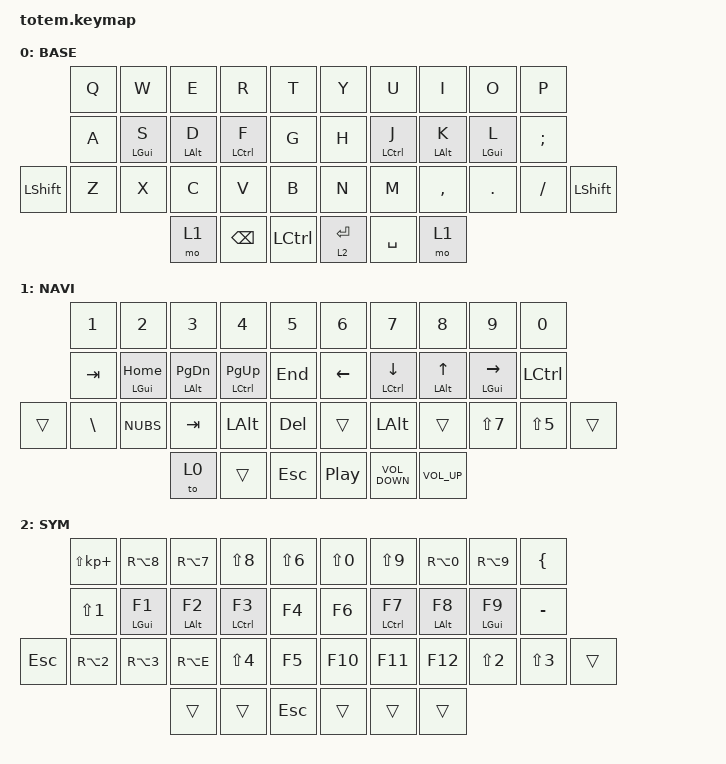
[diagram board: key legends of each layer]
//
//                                                        ▀▀▀▀▀     ▀▀▀▀▀          ▀▀█▀▀
//                                                        ▄▀▀▀▄  ▄  ▄▀▀▀▄  ▄  ▄▀▀▀▄  █  ▄▀▀▀▄
//                                                        █   █  █  █   █  █  █   █  █  █   █
//                                                         ▀▀▀   █   ▀▀▀   █   ▀▀▀   ▀   ▀▀▀
//                                                               █      ▄▄▄█▄▄▄    █   █  
//                                                               ▀      █  █  █     █▄█
//                                                             ▀▀▀▀▀    █  █  █      ▀
//                                                                      ▀  ▀  ▀
//
// ▄▄▄▄▄▄▄▄▄▄▄▄▄▄▄▄▄▄▄▄▄▄▄▄▄▄▄▄▄▄▄▄▄▄▄▄▄▄▄▄▄▄▄▄▄▄▄▄▄▄▄▄▄▄▄▄▄▄▄▄▄▄▄▄▄▄▄▄▄▄▄▄▄▄▄▄▄▄▄▄▄▄▄▄▄▄▄▄▄▄▄▄▄▄▄▄▄▄▄▄▄▄▄▄▄▄▄▄▄▄▄▄▄▄▄▄▄▄▄▄▄▄▄▄▄▄▄▄▄▄▄▄▄▄▄▄▄▄▄▄▄▄▄▄▄▄▄▄▄

#include <behaviors.dtsi>
#include <dt-bindings/zmk/keys.h>

#define BASE 0
#define NAV  1
#define SYM  2
#define ADJ  3
#define TVP1 4
#define TVP2 5

&mt {
    quick-tap-ms = <230>;
    global-quick-tap;
    flavor = "tap-preferred";
    tapping-term-ms = <230>;
    require-prior-idle-ms = <125>;
};

/ {
    combos {
        compatible = "zmk,combos";

        acento {
            bindings = <&kp RIGHT_BRACKET>;
            key-positions = <16 17>;
        };

        Agudo {
            bindings = <&kp LS(RIGHT_BRACKET)>;
            key-positions = <20 16 17>;
        };

        tilde {
            bindings = <&kp NUHS>;
            key-positions = <27 28>;
        };

        chapeu {
            bindings = <&kp LS(NUHS)>;
            key-positions = <20 27 28>;
        };
    };

    keymap {
        compatible = "zmk,keymap";

        // ▄▄▄▄▄▄▄▄▄▄▄▄▄▄▄▄▄▄▄▄▄▄▄▄▄▄▄▄▄▄▄▄▄▄▄▄▄▄▄▄▄▄▄▄▄▄▄▄▄▄▄▄▄▄▄▄▄▄▄▄▄▄▄▄▄▄▄▄▄▄▄▄▄▄▄▄▄▄▄▄▄▄▄▄▄▄▄▄▄▄▄▄▄▄▄▄▄▄▄▄▄▄▄▄▄▄▄▄▄▄▄▄▄▄▄▄▄▄▄▄▄▄▄▄▄▄▄▄▄▄▄▄▄▄▄▄▄▄▄▄▄▄▄▄▄▄▄▄▄

        base_layer {
            // ┏━━━━━━━━━━━━━━━━━━━━━━━━━━━━━━━━━━━━━━━┓

            label = "BASE";

            // ┗━━━━━━━━━━━━━━━━━━━━━━━━━━━━━━━━━━━━━━━┛
            //             ┏━━━━━━━━━━━┳━━━━━━━━━━━┳━━━━━━━━━━━┳━━━━━━━━━━━┳━━━━━━━━━━━┓   ┏━━━━━━━━━━━┳━━━━━━━━━━━┳━━━━━━━━━━━┳━━━━━━━━━━━┳━━━━━━━━━━━┓
            //             ┃     Q     ┃     W     ┃     E     ┃     R     ┃     T     ┃   ┃     Y     ┃     U     ┃     I     ┃     O     ┃     P     ┃
            //             ┣━━━━━━━━━━━╋━━━━━━━━━━━╋━━━━━━━━━━━╋━━━━━━━━━━━╋━━━━━━━━━━━┫   ┣━━━━━━━━━━━╋━━━━━━━━━━━╋━━━━━━━━━━━╋━━━━━━━━━━━╋━━━━━━━━━━━┫
            //             ┃     A     ┃     S     ┃     D     ┃     F     ┃     G     ┃   ┃     H     ┃     J     ┃     K     ┃     L     ┃     Ç     ┃
            // ┏━━━━━━━━━━━╋━━━━━━━━━━━╋━━━━━━━━━━━╋━━━━━━━━━━━╋━━━━━━━━━━━╋━━━━━━━━━━━┫   ┣━━━━━━━━━━━╋━━━━━━━━━━━╋━━━━━━━━━━━╋━━━━━━━━━━━╋━━━━━━━━━━━╋━━━━━━━━━━━┓
            // ┃     ESC   ┃     Z     ┃     X     ┃     C     ┃     V     ┃     B     ┃   ┃     N     ┃     M     ┃     ,     ┃     .     ┃     -     ┃    LSFT   ┃
            // ┗━━━━━━━━━━━┻━━━━━━━━━━━┻━━━━━━━━━━━╋━━━━━━━━━━━╋━━━━━━━━━━━╋━━━━━━━━━━━┫   ┣━━━━━━━━━━━╋━━━━━━━━━━━╋━━━━━━━━━━━╋━━━━━━━━━━━┻━━━━━━━━━━━┻━━━━━━━━━━━┛
            //                                     ┃    BSPC   ┃    ALT    ┃    CTRL   ┃   ┃           ┃   ENTER   ┃   SPACE   ┃
            //                                     ┗━━━━━━━━━━━┻━━━━━━━━━━━┻━━━━━━━━━━━┛   ┗━━━━━━━━━━━┻━━━━━━━━━━━┻━━━━━━━━━━━┛

            bindings = <
            &kp Q  &kp W           &kp E           &kp R               &kp T        &kp Y        &kp U        &kp I           &kp O           &kp P
            &kp A  &mt LEFT_GUI S  &mt LEFT_ALT D  &mt LEFT_CONTROL F  &kp G        &kp H        &mt LCTRL J  &mt LEFT_ALT K  &mt LEFT_GUI L  &kp SEMI
&kp LSHIFT  &kp Z  &kp X           &kp C           &kp V               &kp B        &kp N        &kp M        &kp COMMA       &kp DOT         &kp SLASH  &kp LSHFT
                                   &mo 1           &kp BACKSPACE       &kp LCTRL    &lt 2 ENTER  &kp SPACE    &mo 1
            >;
        };

        // ▄▄▄▄▄▄▄▄▄▄▄▄▄▄▄▄▄▄▄▄▄▄▄▄▄▄▄▄▄▄▄▄▄▄▄▄▄▄▄▄▄▄▄▄▄▄▄▄▄▄▄▄▄▄▄▄▄▄▄▄▄▄▄▄▄▄▄▄▄▄▄▄▄▄▄▄▄▄▄▄▄▄▄▄▄▄▄▄▄▄▄▄▄▄▄▄▄▄▄▄▄▄▄▄▄▄▄▄▄▄▄▄▄▄▄▄▄▄▄▄▄▄▄▄▄▄▄▄▄▄▄▄▄▄▄▄▄▄▄▄▄▄▄▄▄▄▄▄▄

        num_nav {
            // ┏━━━━━━━━━━━━━━━━━━━━━━━━━━━━━━━━━━━━━━━┓

            label = "NAVI";

            // ┗━━━━━━━━━━━━━━━━━━━━━━━━━━━━━━━━━━━━━━━┛
            //             ┏━━━━━━━━━━━┳━━━━━━━━━━━┳━━━━━━━━━━━┳━━━━━━━━━━━┳━━━━━━━━━━━┓   ┏━━━━━━━━━━━┳━━━━━━━━━━━┳━━━━━━━━━━━┳━━━━━━━━━━━┳━━━━━━━━━━━┓
            //             ┃           ┃           ┃     UP    ┃           ┃     {     ┃   ┃     }     ┃     7     ┃     8     ┃     9     ┃     +     ┃
            //             ┣━━━━━━━━━━━╋━━━━━━━━━━━╋━━━━━━━━━━━╋━━━━━━━━━━━╋━━━━━━━━━━━┫   ┣━━━━━━━━━━━╋━━━━━━━━━━━╋━━━━━━━━━━━╋━━━━━━━━━━━╋━━━━━━━━━━━┫
            //             ┃   SHIFT   ┃   LEFT    ┃    DOWN   ┃   RIGHT   ┃     [     ┃   ┃     ]     ┃     4     ┃     5     ┃     6     ┃     -     ┃
            // ┏━━━━━━━━━━━╋━━━━━━━━━━━╋━━━━━━━━━━━╋━━━━━━━━━━━╋━━━━━━━━━━━╋━━━━━━━━━━━┫   ┣━━━━━━━━━━━╋━━━━━━━━━━━╋━━━━━━━━━━━╋━━━━━━━━━━━╋━━━━━━━━━━━╋━━━━━━━━━━━┓
            // ┃           ┃           ┃   P UP    ┃  C LOCK   ┃  P DOWN   ┃     (     ┃   ┃     )     ┃     1     ┃     2     ┃     3     ┃     *     ┃           ┃
            // ┗━━━━━━━━━━━┻━━━━━━━━━━━┻━━━━━━━━━━━╋━━━━━━━━━━━╋━━━━━━━━━━━╋━━━━━━━━━━━┫   ┣━━━━━━━━━━━╋━━━━━━━━━━━╋━━━━━━━━━━━╋━━━━━━━━━━━┻━━━━━━━━━━━┻━━━━━━━━━━━┛
            //                                     ┃           ┃    TAB    ┃    SPC    ┃   ┃    DEL    ┃     0     ┃           ┃
            //                                     ┗━━━━━━━━━━━┻━━━━━━━━━━━┻━━━━━━━━━━━┛   ┗━━━━━━━━━━━┻━━━━━━━━━━━┻━━━━━━━━━━━┛

            bindings = <
        &kp NUMBER_1  &kp NUMBER_2       &kp NUMBER_3            &kp NUMBER_4              &kp NUMBER_5    &kp NUMBER_6      &kp NUMBER_7                 &kp NUMBER_8           &kp NUMBER_9        &kp NUMBER_0
        &kp TAB       &mt LEFT_GUI HOME  &mt LEFT_ALT PAGE_DOWN  &mt LEFT_CONTROL PAGE_UP  &kp END         &kp LEFT          &mt LEFT_CONTROL DOWN_ARROW  &mt LEFT_ALT UP_ARROW  &mt LEFT_GUI RIGHT  &kp LCTRL
&trans  &kp BSLH      &kp NUBS           &kp TAB                 &kp LEFT_ALT              &kp DELETE      &trans            &kp LALT                     &trans                 &kp LS(NUMBER_7)    &kp LS(NUMBER_5)  &trans
                                         &to 0                   &trans                    &kp ESCAPE      &kp C_PLAY_PAUSE  &kp C_VOLUME_DOWN            &kp C_VOLUME_UP
            >;
        };

        // ▄▄▄▄▄▄▄▄▄▄▄▄▄▄▄▄▄▄▄▄▄▄▄▄▄▄▄▄▄▄▄▄▄▄▄▄▄▄▄▄▄▄▄▄▄▄▄▄▄▄▄▄▄▄▄▄▄▄▄▄▄▄▄▄▄▄▄▄▄▄▄▄▄▄▄▄▄▄▄▄▄▄▄▄▄▄▄▄▄▄▄▄▄▄▄▄▄▄▄▄▄▄▄▄▄▄▄▄▄▄▄▄▄▄▄▄▄▄▄▄▄▄▄▄▄▄▄▄▄▄▄▄▄▄▄▄▄▄▄▄▄▄▄▄▄▄▄▄▄

        spc_sym {
            // ┏━━━━━━━━━━━━━━━━━━━━━━━━━━━━━━━━━━━━━━━┓

            label = "SYM";

            // ┗━━━━━━━━━━━━━━━━━━━━━━━━━━━━━━━━━━━━━━━┛
            //             ┏━━━━━━━━━━━┳━━━━━━━━━━━┳━━━━━━━━━━━┳━━━━━━━━━━━┳━━━━━━━━━━━┓   ┏━━━━━━━━━━━┳━━━━━━━━━━━┳━━━━━━━━━━━┳━━━━━━━━━━━┳━━━━━━━━━━━┓
            //             ┃     !     ┃     @     ┃     #     ┃     $     ┃     %     ┃   ┃     ˆ     ┃     &     ┃     Ü     ┃     '     ┃     "     ┃
            //             ┣━━━━━━━━━━━╋━━━━━━━━━━━╋━━━━━━━━━━━╋━━━━━━━━━━━╋━━━━━━━━━━━┫   ┣━━━━━━━━━━━╋━━━━━━━━━━━╋━━━━━━━━━━━╋━━━━━━━━━━━╋━━━━━━━━━━━┫
            //             ┃     Ä     ┃           ┃    SZ     ┃           ┃           ┃   ┃   MUTE    ┃   YEN     ┃   EURO    ┃  POUND    ┃     Ö     ┃
            // ┏━━━━━━━━━━━╋━━━━━━━━━━━╋━━━━━━━━━━━╋━━━━━━━━━━━╋━━━━━━━━━━━╋━━━━━━━━━━━┫   ┣━━━━━━━━━━━╋━━━━━━━━━━━╋━━━━━━━━━━━╋━━━━━━━━━━━╋━━━━━━━━━━━╋━━━━━━━━━━━┓
            // ┃           ┃  EMAIL1   ┃  EMAIL2   ┃           ┃           ┃           ┃   ┃   VOL-    ┃   VOL+    ┃   LAST    ┃   NEXT    ┃     \     ┃           ┃
            // ┗━━━━━━━━━━━┻━━━━━━━━━━━┻━━━━━━━━━━━╋━━━━━━━━━━━╋━━━━━━━━━━━╋━━━━━━━━━━━┫   ┣━━━━━━━━━━━╋━━━━━━━━━━━╋━━━━━━━━━━━╋━━━━━━━━━━━┻━━━━━━━━━━━┻━━━━━━━━━━━┛
            //                                     ┃           ┃    GIF    ┃    ADJ    ┃   ┃           ┃           ┃           ┃
            //                                     ┗━━━━━━━━━━━┻━━━━━━━━━━━┻━━━━━━━━━━━┛   ┗━━━━━━━━━━━┻━━━━━━━━━━━┻━━━━━━━━━━━┛

            bindings = <
         &kp LS(KP_PLUS)   &kp RA(NUMBER_8)  &kp RA(NUMBER_7)  &kp LS(NUMBER_8)     &kp LS(NUMBER_6)    &kp LS(NUMBER_0)  &kp LS(NUMBER_9)     &kp RA(NUMBER_0)  &kp RA(NUMBER_9)  &kp LEFT_BRACE
         &kp LS(NUMBER_1)  &mt LEFT_GUI F1   &mt LEFT_ALT F2   &mt LEFT_CONTROL F3  &kp F4              &kp F6            &mt LEFT_CONTROL F7  &mt LEFT_ALT F8   &mt LEFT_GUI F9   &kp MINUS
&kp ESC  &kp RA(NUMBER_2)  &kp RA(NUMBER_3)  &kp RA(E)         &kp LS(NUMBER_4)     &kp F5              &kp F10           &kp F11              &kp F12           &kp LS(NUMBER_2)  &kp LS(NUMBER_3)  &trans
                                             &trans            &trans               &kp ESC             &trans            &trans               &trans
            >;
        };

        // ▄▄▄▄▄▄▄▄▄▄▄▄▄▄▄▄▄▄▄▄▄▄▄▄▄▄▄▄▄▄▄▄▄▄▄▄▄▄▄▄▄▄▄▄▄▄▄▄▄▄▄▄▄▄▄▄▄▄▄▄▄▄▄▄▄▄▄▄▄▄▄▄▄▄▄▄▄▄▄▄▄▄▄▄▄▄▄▄▄▄▄▄▄▄▄▄▄▄▄▄▄▄▄▄▄▄▄▄▄▄▄▄▄▄▄▄▄▄▄▄▄▄▄▄▄▄▄▄▄▄▄▄▄▄▄▄▄▄▄▄▄▄▄▄▄▄▄▄▄
        // ▄▄▄▄▄▄▄▄▄▄▄▄▄▄▄▄▄▄▄▄▄▄▄▄▄▄▄▄▄▄▄▄▄▄▄▄▄▄▄▄▄▄▄▄▄▄▄▄▄▄▄▄▄▄▄▄▄▄▄▄▄▄▄▄▄▄▄▄▄▄▄▄▄▄▄▄▄▄▄▄▄▄▄▄▄▄▄▄▄▄▄▄▄▄▄▄▄▄▄▄▄▄▄▄▄▄▄▄▄▄▄▄▄▄▄▄▄▄▄▄▄▄▄▄▄▄▄▄▄▄▄▄▄▄▄▄▄▄▄▄▄▄▄▄▄▄▄▄▄
        // ▄▄▄▄▄▄▄▄▄▄▄▄▄▄▄▄▄▄▄▄▄▄▄▄▄▄▄▄▄▄▄▄▄▄▄▄▄▄▄▄▄▄▄▄▄▄▄▄▄▄▄▄▄▄▄▄▄▄▄▄▄▄▄▄▄▄▄▄▄▄▄▄▄▄▄▄▄▄▄▄▄▄▄▄▄▄▄▄▄▄▄▄▄▄▄▄▄▄▄▄▄▄▄▄▄▄▄▄▄▄▄▄▄▄▄▄▄▄▄▄▄▄▄▄▄▄▄▄▄▄▄▄▄▄▄▄▄▄▄▄▄▄▄▄▄▄▄▄▄
    };
};
